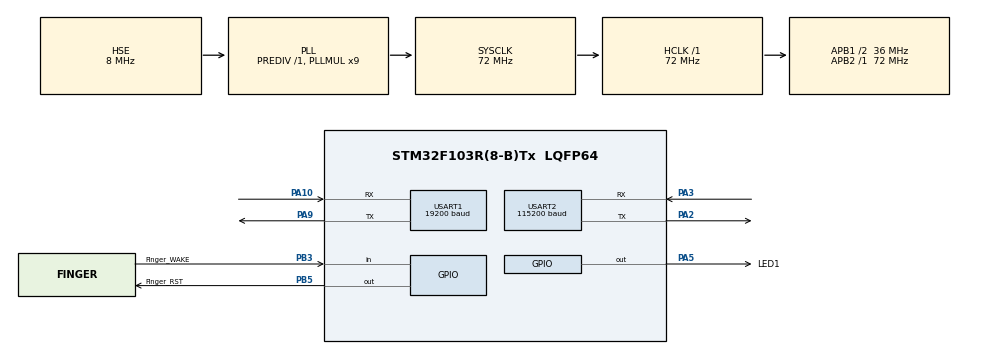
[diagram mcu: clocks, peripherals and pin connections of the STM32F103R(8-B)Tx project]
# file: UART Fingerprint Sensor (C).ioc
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Dma.Request0=USART1_RX
Dma.Request1=USART1_TX
Dma.Request2=USART2_TX
Dma.Request3=USART2_RX
Dma.USART1_RX.0.Direction=DMA_PERIPH_TO_MEMORY
Dma.USART1_RX.0.Instance=DMA1_Channel5
Dma.USART1_RX.0.MemDataAlignment=DMA_MDATAALIGN_BYTE
Dma.USART1_RX.0.MemInc=DMA_MINC_ENABLE
Dma.USART1_RX.0.Mode=DMA_NORMAL
Dma.USART1_RX.0.PeriphDataAlignment=DMA_PDATAALIGN_BYTE
Dma.USART1_RX.0.PeriphInc=DMA_PINC_DISABLE
Dma.USART1_RX.0.Priority=DMA_PRIORITY_LOW
Dma.USART1_TX.1.Direction=DMA_MEMORY_TO_PERIPH
Dma.USART1_TX.1.Instance=DMA1_Channel4
Dma.USART1_TX.1.MemDataAlignment=DMA_MDATAALIGN_BYTE
Dma.USART1_TX.1.MemInc=DMA_MINC_ENABLE
Dma.USART1_TX.1.Mode=DMA_NORMAL
Dma.USART1_TX.1.PeriphDataAlignment=DMA_PDATAALIGN_BYTE
Dma.USART1_TX.1.PeriphInc=DMA_PINC_DISABLE
Dma.USART1_TX.1.Priority=DMA_PRIORITY_LOW
Dma.USART2_RX.3.Direction=DMA_PERIPH_TO_MEMORY
Dma.USART2_RX.3.Instance=DMA1_Channel6
Dma.USART2_RX.3.MemDataAlignment=DMA_MDATAALIGN_BYTE
Dma.USART2_RX.3.MemInc=DMA_MINC_ENABLE
Dma.USART2_RX.3.Mode=DMA_NORMAL
Dma.USART2_RX.3.PeriphDataAlignment=DMA_PDATAALIGN_BYTE
Dma.USART2_RX.3.PeriphInc=DMA_PINC_DISABLE
Dma.USART2_RX.3.Priority=DMA_PRIORITY_LOW
Dma.USART2_TX.2.Direction=DMA_MEMORY_TO_PERIPH
Dma.USART2_TX.2.Instance=DMA1_Channel7
Dma.USART2_TX.2.MemDataAlignment=DMA_MDATAALIGN_BYTE
Dma.USART2_TX.2.MemInc=DMA_MINC_ENABLE
Dma.USART2_TX.2.Mode=DMA_NORMAL
Dma.USART2_TX.2.PeriphDataAlignment=DMA_PDATAALIGN_BYTE
Dma.USART2_TX.2.PeriphInc=DMA_PINC_DISABLE
Dma.USART2_TX.2.Priority=DMA_PRIORITY_LOW
Mcu.Family=STM32F1
Mcu.Name=STM32F103R(8-B)Tx
Mcu.Package=LQFP64
NVIC.DMA1_Channel4_IRQn=true\:0\:0\:false\:false\:true\:true
NVIC.DMA1_Channel5_IRQn=true\:0\:0\:false\:false\:true\:true
NVIC.DMA1_Channel6_IRQn=true\:0\:0\:false\:false\:true\:true
NVIC.DMA1_Channel7_IRQn=true\:0\:0\:false\:false\:true\:true
NVIC.PriorityGroup=NVIC_PRIORITYGROUP_4
NVIC.USART1_IRQn=true\:0\:0\:false\:false\:true\:true
NVIC.USART2_IRQn=true\:0\:0\:false\:false\:true\:true
PA10.Mode=Asynchronous
PA10.Signal=USART1_RX
PA13.Mode=Serial_Wire
PA13.Signal=SYS_JTMS-SWDIO
PA14.Mode=Serial_Wire
PA14.Signal=SYS_JTCK-SWCLK
PA2.Mode=Asynchronous
PA2.Signal=USART2_TX
PA3.Mode=Asynchronous
PA3.Signal=USART2_RX
PA5.GPIO_Label=LED1
PA5.Signal=GPIO_Output
PA9.Mode=Asynchronous
PA9.Signal=USART1_TX
PB3.GPIO_Label=Finger_WAKE
PB3.Signal=GPIO_Input
PB5.GPIO_Label=Finger_RST
PB5.PinState=GPIO_PIN_SET
PB5.Signal=GPIO_Output
PD0-OSC_IN.Mode=HSE-External-Oscillator
PD0-OSC_IN.Signal=RCC_OSC_IN
PD1-OSC_OUT.Mode=HSE-External-Oscillator
PD1-OSC_OUT.Signal=RCC_OSC_OUT
ProjectManager.HeapSize=0x200
ProjectManager.StackSize=0x400
ProjectManager.TargetToolchain=MDK-ARM V5
RCC.ADCPresc=RCC_ADCPCLK2_DIV4
RCC.AHBFreq_Value=72000000
RCC.APB1CLKDivider=RCC_HCLK_DIV2
RCC.APB1Freq_Value=36000000
RCC.APB1TimFreq_Value=72000000
RCC.APB2Freq_Value=72000000
RCC.APB2TimFreq_Value=72000000
RCC.HCLKFreq_Value=72000000
RCC.PLLMUL=RCC_PLL_MUL9
RCC.PLLSourceVirtual=RCC_PLLSOURCE_HSE
RCC.SYSCLKFreq_VALUE=72000000
RCC.SYSCLKSource=RCC_SYSCLKSOURCE_PLLCLK
RCC.USBFreq_Value=72000000
TIM3.Period=1
TIM3.Prescaler=72-1
USART1.BaudRate=19200
USART1.VirtualMode=VM_ASYNC
USART2.BaudRate=115200
USART2.VirtualMode=VM_ASYNC
VP_TIM3_VS_ClockSourceINT.Mode=Internal
board=UART Fingerprint Sensor (C)

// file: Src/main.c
/**
  ******************************************************************************
  * @file           : main.c
  * @brief          : Main program body
  ******************************************************************************
  ** This notice applies to any and all portions of this file
  * that are not between comment pairs USER CODE BEGIN and
  * USER CODE END. Other portions of this file, whether
  * inserted by the user or by software development tools
  * are owned by their respective copyright owners.
  *
  * COPYRIGHT(c) 2019 STMicroelectronics
  *
  * Redistribution and use in source and binary forms, with or without modification,
  * are permitted provided that the following conditions are met:
  *   1. Redistributions of source code must retain the above copyright notice,
  *      this list of conditions and the following disclaimer.
  *   2. Redistributions in binary form must reproduce the above copyright notice,
  *      this list of conditions and the following disclaimer in the documentation
  *      and/or other materials provided with the distribution.
  *   3. Neither the name of STMicroelectronics nor the names of its contributors
  *      may be used to endorse or promote products derived from this software
  *      without specific prior written permission.
  *
  * THIS SOFTWARE IS PROVIDED BY THE COPYRIGHT HOLDERS AND CONTRIBUTORS "AS IS"
  * AND ANY EXPRESS OR IMPLIED WARRANTIES, INCLUDING, BUT NOT LIMITED TO, THE
  * IMPLIED WARRANTIES OF MERCHANTABILITY AND FITNESS FOR A PARTICULAR PURPOSE ARE
  * DISCLAIMED. IN NO EVENT SHALL THE COPYRIGHT HOLDER OR CONTRIBUTORS BE LIABLE
  * FOR ANY DIRECT, INDIRECT, INCIDENTAL, SPECIAL, EXEMPLARY, OR CONSEQUENTIAL
  * DAMAGES (INCLUDING, BUT NOT LIMITED TO, PROCUREMENT OF SUBSTITUTE GOODS OR
  * SERVICES; LOSS OF USE, DATA, OR PROFITS; OR BUSINESS INTERRUPTION) HOWEVER
  * CAUSED AND ON ANY THEORY OF LIABILITY, WHETHER IN CONTRACT, STRICT LIABILITY,
  * OR TORT (INCLUDING NEGLIGENCE OR OTHERWISE) ARISING IN ANY WAY OUT OF THE USE
  * OF THIS SOFTWARE, EVEN IF ADVISED OF THE POSSIBILITY OF SUCH DAMAGE.
  *
  ******************************************************************************
  */
#include "main.h"
#include "stm32f1xx_hal.h"
#include "dma.h"
#include "tim.h"
#include "usart.h"
#include "gpio.h"

/* USER CODE BEGIN Includes */
#include "fingerprint.h"
/* USER CODE END Includes */

/* USER CODE BEGIN PV */
/* Private variables ---------------------------------------------------------*/

/* USER CODE END PV */

void SystemClock_Config(void);

/* USER CODE BEGIN PFP */
/* Private function prototypes -----------------------------------------------*/

/* USER CODE END PFP */

int main(void)
{

  /* MCU Configuration----------------------------------------------------------*/

  /* Reset of all peripherals, Initializes the Flash interface and the Systick. */
  HAL_Init();

  /* Configure the system clock */
  SystemClock_Config();

  /* Initialize all configured peripherals */
  MX_GPIO_Init();
  MX_DMA_Init();
  MX_TIM3_Init();
  MX_USART2_UART_Init();
  MX_USART1_UART_Init();
  /* USER CODE BEGIN 2 */
	Finger_RST_Pin_LOW;
  HAL_Delay(300);
  Finger_RST_Pin_HIGH;
	HAL_Delay(300);  // Wait for module to start
	LED1_Pin_LOW;

  __HAL_UART_ENABLE_IT(&huart1, UART_IT_IDLE);
  __HAL_UART_ENABLE_IT(&huart2, UART_IT_IDLE);
  HAL_UART_Receive_DMA(&huart1, Usart1_ReceiveStruct.RX_pData, RX_LEN);
	HAL_UART_Receive_DMA(&huart2, Usart2_ReceiveStruct.RX_pData, RX_LEN);

	while(SetcompareLevel(5) != 5)
	{
		HAL_Delay(1000);
		printf("***ERROR***: Please ensure that the module power supply is 3.3V , the serial line connection is correct, and finally the power is switched off, and then power on again\r\n");
	}

	printf("*************** WaveShare UART Fingerprint Sensor (C) Test ***************\r\n");
	printf("Compare Level:  %d\r\n", GetcompareLevel());
	printf("Number of fingerprints already available:  %d\r\n",GetUserCount());
	printf(" Use the serial port to send the commands to operate the module:\r\n");
	printf("  CMD1 : Query the number of existing fingerprints\r\n");
	printf("  CMD2 : Add fingerprint  (Put your fingerprint until you get successfully/failed information )\r\n");
	printf("  CMD3 : Fingerprint matching  (Send the command, put your finger on sensor)\r\n");
	printf("  CMD4 : Clear fingerprints \r\n");
	printf("  CMD5 : Switch to sleep mode, you can use the finger Automatic wake-up function (In this state, only CMD6 is valid. When a finger is placed on the sensor,the module is awakened and the finger is matched, without sending commands to match each time. The CMD6 can be used to wake up) \r\n");
	printf("  CMD6 : Wake up and make all commands valid \r\n");
	printf("*************** Now you can send the commands: ***************\r\n");

  /* USER CODE END 2 */

  /* Infinite loop */
  while (1)
  {

  /* USER CODE BEGIN 3 */
		if(Usart2_ReceiveStruct.RX_flag)  // UART2 receives 4 bytes of data
		{
			Analysis_PC_Command();

			Usart2_ReceiveStruct.RX_flag = 0;  // clear flag
			Usart2_ReceiveStruct.RX_Size = 0;  // clear  RX_Size  before next receive
		}

	// If you enter the sleep mode, then open the Automatic wake-up function of the finger,
	//begin to check if the finger is pressed, and then start the module and match
		if(Finger_SleepFlag == 1)
		{
			Auto_Verify_Finger();
		}

		HAL_Delay(1);
  }
  /* USER CODE END 3 */

}

void SystemClock_Config(void)
{

  RCC_OscInitTypeDef RCC_OscInitStruct;
  RCC_ClkInitTypeDef RCC_ClkInitStruct;

    /**Initializes the CPU, AHB and APB busses clocks
    */
  RCC_OscInitStruct.OscillatorType = RCC_OSCILLATORTYPE_HSE;
  RCC_OscInitStruct.HSEState = RCC_HSE_ON;
  RCC_OscInitStruct.HSEPredivValue = RCC_HSE_PREDIV_DIV1;
  RCC_OscInitStruct.HSIState = RCC_HSI_ON;
  RCC_OscInitStruct.PLL.PLLState = RCC_PLL_ON;
  RCC_OscInitStruct.PLL.PLLSource = RCC_PLLSOURCE_HSE;
  RCC_OscInitStruct.PLL.PLLMUL = RCC_PLL_MUL9;
  if (HAL_RCC_OscConfig(&RCC_OscInitStruct) != HAL_OK)
  {
    _Error_Handler(__FILE__, __LINE__);
  }

    /**Initializes the CPU, AHB and APB busses clocks
    */
  RCC_ClkInitStruct.ClockType = RCC_CLOCKTYPE_HCLK|RCC_CLOCKTYPE_SYSCLK
                              |RCC_CLOCKTYPE_PCLK1|RCC_CLOCKTYPE_PCLK2;
  RCC_ClkInitStruct.SYSCLKSource = RCC_SYSCLKSOURCE_PLLCLK;
  RCC_ClkInitStruct.AHBCLKDivider = RCC_SYSCLK_DIV1;
  RCC_ClkInitStruct.APB1CLKDivider = RCC_HCLK_DIV2;
  RCC_ClkInitStruct.APB2CLKDivider = RCC_HCLK_DIV1;

  if (HAL_RCC_ClockConfig(&RCC_ClkInitStruct, FLASH_LATENCY_2) != HAL_OK)
  {
    _Error_Handler(__FILE__, __LINE__);
  }

    /**Configure the Systick interrupt time
    */
  HAL_SYSTICK_Config(HAL_RCC_GetHCLKFreq()/1000);

    /**Configure the Systick
    */
  HAL_SYSTICK_CLKSourceConfig(SYSTICK_CLKSOURCE_HCLK);

  /* SysTick_IRQn interrupt configuration */
  HAL_NVIC_SetPriority(SysTick_IRQn, 0, 0);
}

void _Error_Handler(char *file, int line)
{
  while(1)
  {
  }
}

/************************ (C) COPYRIGHT STMicroelectronics *****END OF FILE****/
